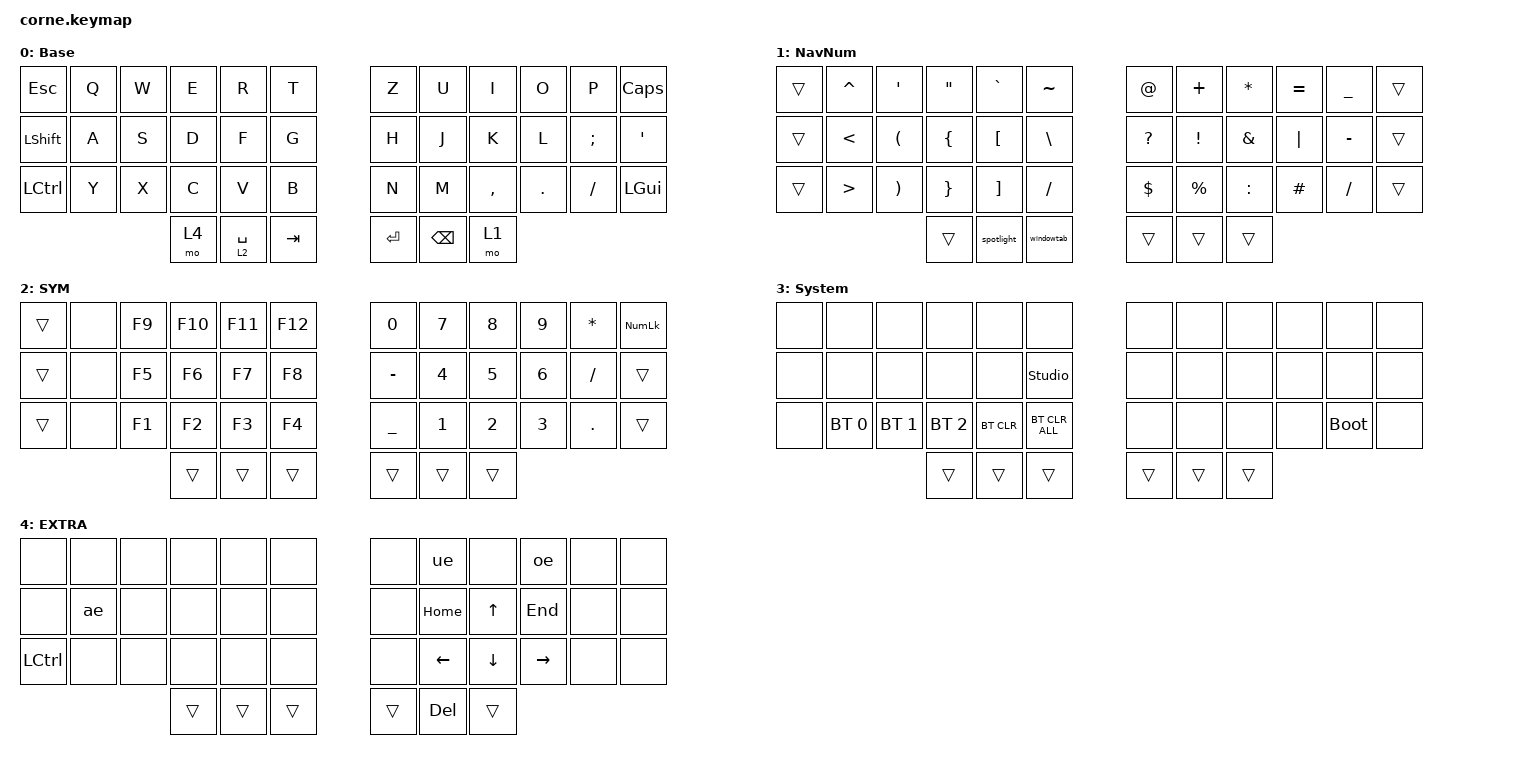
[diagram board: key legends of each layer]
/*
 * Copyright (c) 2020 The ZMK Contributors
 *
 * SPDX-License-Identifier: MIT
 */

#include <behaviors.dtsi>
#include <dt-bindings/zmk/bt.h>
#include <dt-bindings/zmk/keys.h>

/ {
    macros {
        windowtab: windowtab {
            compatible = "zmk,behavior-macro";
            #binding-cells = <0>;
            bindings =
                <&macro_press>,
                <&kp RALT>,
                <&macro_tap>,
                <&kp TAB>,
                <&macro_release>,
                <&kp RALT>;

            label = "WINDOWTAB";
        };

        ue: ue {
            compatible = "zmk,behavior-macro";
            #binding-cells = <0>;
            bindings =
                <&macro_press>,
                <&kp RALT>,
                <&macro_tap>,
                <&kp Y>,
                <&macro_release>,
                <&kp RALT>;

            label = "UE";
        };

        oe: oe {
            compatible = "zmk,behavior-macro";
            #binding-cells = <0>;
            bindings =
                <&macro_press>,
                <&kp RALT>,
                <&macro_tap>,
                <&kp P>,
                <&macro_release>,
                <&kp RALT>;

            label = "OE";
        };

        ae: ae {
            compatible = "zmk,behavior-macro";
            #binding-cells = <0>;
            bindings =
                <&macro_press>,
                <&kp RALT>,
                <&macro_tap>,
                <&kp Q>,
                <&macro_release>,
                <&kp RALT>;

            label = "AE";
        };

        spotlight: spotlight {
            compatible = "zmk,behavior-macro";
            #binding-cells = <0>;
            bindings =
                <&macro_press>,
                <&kp LALT>,
                <&macro_tap>,
                <&kp SPACE>,
                <&macro_release>,
                <&kp LALT>;

            label = "SPOTLIGHT";
        };
    };

    keymap {
        compatible = "zmk,keymap";

        DEF {
            // -----------------------------------------------------------------------------------------
            // |  TAB |  Q  |  W  |  E  |  R  |  T  |   |  Y  |  U   |  I  |  O  |  P  | BKSP |
            // | CTRL |  A  |  S  |  D  |  F  |  G  |   |  H  |  J   |  K  |  L  |  ;  |  '   |
            // | SHFT |  Z  |  X  |  C  |  V  |  B  |   |  N  |  M   |  ,  |  .  |  /  | ESC  |
            //                    | GUI | LWR | SPC |   | ENT | RSE  | ALT |

            display-name = "Base";
            bindings = <
&kp ESCAPE      &kp Q  &kp W  &kp E  &kp R        &kp T      &kp Z    &kp U          &kp I      &kp O    &kp P     &kp CAPSLOCK
&kp LEFT_SHIFT  &kp A  &kp S  &kp D  &kp F        &kp G      &kp H    &kp J          &kp K      &kp L    &kp SEMI  &kp SQT
&kp LCTRL       &kp Y  &kp X  &kp C  &kp V        &kp B      &kp N    &kp M          &kp COMMA  &kp DOT  &kp FSLH  &kp LEFT_GUI
                              &mo 4  &lt 2 SPACE  &kp TAB    &kp RET  &kp BACKSPACE  &mo 1
            >;
        };

        NAV {
            // -----------------------------------------------------------------------------------------
            // |  TAB |  !  |  @  |  #  |  $  |  %  |   |  ^  |  &  |  *  |  (  |  )  | BKSP |
            // | CTRL |     |     |     |     |     |   |  -  |  =  |  [  |  ]  |  \  |  `   |
            // | SHFT |     |     |     |     |     |   |  _  |  +  |  {  |  }  | "|" |  ~   |
            //                    | GUI |     | SPC |   | ENT |     | ALT |

            display-name = "NavNum";
            bindings = <
&trans  &kp CARET         &kp SINGLE_QUOTE       &kp DOUBLE_QUOTES  &kp GRAVE          &kp TILDE        &kp AT_SIGN   &kp PLUS         &kp ASTERISK   &kp EQUAL  &kp UNDERSCORE  &trans
&trans  &kp LESS_THAN     &kp LEFT_PARENTHESIS   &kp LEFT_BRACE     &kp LEFT_BRACKET   &kp BACKSLASH    &kp QUESTION  &kp EXCLAMATION  &kp AMPERSAND  &kp PIPE   &kp MINUS       &trans
&trans  &kp GREATER_THAN  &kp RIGHT_PARENTHESIS  &kp RIGHT_BRACE    &kp RIGHT_BRACKET  &kp SLASH        &kp DOLLAR    &kp PERCENT      &kp COLON      &kp HASH   &kp SLASH       &trans
                                                 &trans             &spotlight         &windowtab       &trans        &trans           &trans
            >;
        };

        SYM {
            bindings = <
&trans  &none  &kp F9  &kp F10  &kp F11  &kp F12    &kp NUMBER_0    &kp NUMBER_7  &kp NUMBER_8  &kp NUMBER_9  &kp ASTERISK  &kp KP_NUMLOCK
&trans  &none  &kp F5  &kp F6   &kp F7   &kp F8     &kp MINUS       &kp NUMBER_4  &kp NUMBER_5  &kp NUMBER_6  &kp SLASH     &trans
&trans  &none  &kp F1  &kp F2   &kp F3   &kp F4     &kp UNDERSCORE  &kp NUMBER_1  &kp NUMBER_2  &kp NUMBER_3  &kp PERIOD    &trans
                       &trans   &trans   &trans     &trans          &trans        &trans
            >;
        };

        ADJ {
            // -----------------------------------------------------------------------------------------
            // |  TAB |  1  |  2  |  3  |  4  |  5  |   |  6  |  7  |  8  |  9  |  0  | BKSP |
            // | BTCLR| BT1 | BT2 | BT3 | BT4 | BT5 |   | LFT | DWN |  UP | RGT |     |      |
            // | SHFT |     |     |     |     |     |   |     |     |     |     |     |      |
            //                    | GUI |     | SPC |   | ENT |     | ALT |

            display-name = "System";
            bindings = <
&none  &none         &none         &none         &none       &none             &none   &none   &none   &none  &none        &none
&none  &none         &none         &none         &none       &studio_unlock    &none   &none   &none   &none  &none        &none
&none  &bt BT_SEL 0  &bt BT_SEL 1  &bt BT_SEL 2  &bt BT_CLR  &bt BT_CLR_ALL    &none   &none   &none   &none  &bootloader  &none
                                   &trans        &trans      &trans            &trans  &trans  &trans
            >;
        };

        EXTRA {
            bindings = <
&none      &none  &none  &none   &none   &none     &none   &ue             &none           &oe              &none  &none
&none      &ae    &none  &none   &none   &none     &none   &kp HOME        &kp UP_ARROW    &kp END          &none  &none
&kp LCTRL  &none  &none  &none   &none   &none     &none   &kp LEFT_ARROW  &kp DOWN_ARROW  &kp RIGHT_ARROW  &none  &none
                         &trans  &trans  &trans    &trans  &kp DEL         &trans
            >;
        };
    };

    conditional_layers {
        compatible = "zmk,conditional-layers";

        l3 {
            if-layers = <1 2>;
            then-layer = <3>;
        };
    };
};
